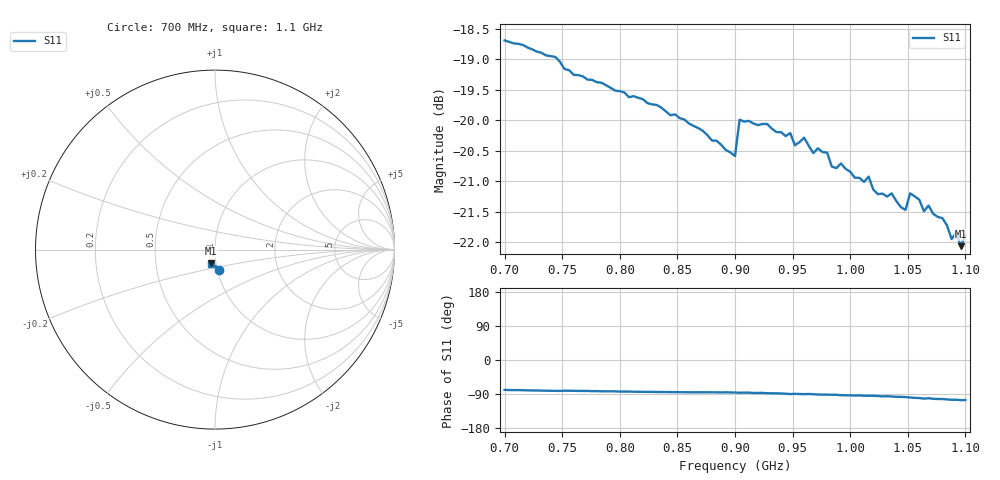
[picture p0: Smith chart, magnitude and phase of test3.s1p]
# HZ S RI R 50
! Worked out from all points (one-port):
!   101 points, 700 MHz to 1.1 GHz, reference 50 ohm
!   lowest |S11| = -22.1 dB at 1.096 GHz (marker M1), VSWR 1.17, Z = 47.3 - j7.22 ohm
!   |S11| at or under -10 dB: start of sweep to end of sweep
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7e8  0.0225 -0.1141
7.44e8  0.017 -0.1114
7.52e8  0.0174 -0.1088
8e8  0.0124 -0.1049
8.52e8  0.00888 -0.1
9e8  0.00685 -0.0932
9.04e8  0.00621 -0.0999
9.48e8  0.000158 -0.0976
9.52e8  0.0012 -0.0954
9.6e8  -9.3e-05 -0.0968
9.68e8  -0.000424 -0.094
9.8e8  -0.00229 -0.094
9.84e8  -0.00267 -0.0916
9.92e8  -0.00456 -0.092
1e9  -0.005 -0.0906
1.012e9  -0.00678 -0.0887
1.016e9  -0.0066 -0.0896
1.024e9  -0.00734 -0.0866
1.036e9  -0.00951 -0.0866
1.048e9  -0.0116 -0.0836
1.052e9  -0.0135 -0.086
1.064e9  -0.0174 -0.0824
1.068e9  -0.016 -0.0836
1.08e9  -0.0187 -0.081
1.088e9  -0.0206 -0.0772
1.092e9  -0.0209 -0.078
1.096e9  -0.0217 -0.0758
1.1e9  -0.0217 -0.0775
